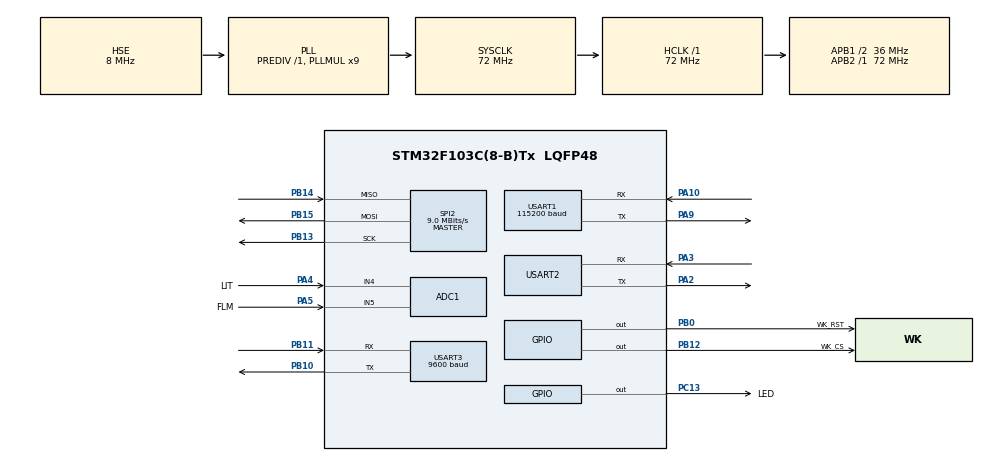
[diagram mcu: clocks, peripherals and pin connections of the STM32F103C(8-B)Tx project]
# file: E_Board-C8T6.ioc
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ADC1.Channel-0\#ChannelRegularConversion=ADC_CHANNEL_4
ADC1.Channel-1\#ChannelRegularConversion=ADC_CHANNEL_5
ADC1.NbrOfConversion=2
ADC1.NbrOfConversionFlag=1
ADC1.Rank-0\#ChannelRegularConversion=1
ADC1.Rank-1\#ChannelRegularConversion=2
ADC1.SamplingTime-0\#ChannelRegularConversion=ADC_SAMPLETIME_239CYCLES_5
ADC1.SamplingTime-1\#ChannelRegularConversion=ADC_SAMPLETIME_239CYCLES_5
ADC1.master=1
Dma.ADC1.1.Direction=DMA_PERIPH_TO_MEMORY
Dma.ADC1.1.Instance=DMA1_Channel1
Dma.ADC1.1.MemDataAlignment=DMA_MDATAALIGN_HALFWORD
Dma.ADC1.1.MemInc=DMA_MINC_ENABLE
Dma.ADC1.1.Mode=DMA_NORMAL
Dma.ADC1.1.PeriphDataAlignment=DMA_PDATAALIGN_HALFWORD
Dma.ADC1.1.PeriphInc=DMA_PINC_DISABLE
Dma.ADC1.1.Priority=DMA_PRIORITY_LOW
Dma.Request0=USART1_RX
Dma.Request1=ADC1
Dma.Request2=USART3_RX
Dma.USART1_RX.0.Direction=DMA_PERIPH_TO_MEMORY
Dma.USART1_RX.0.Instance=DMA1_Channel5
Dma.USART1_RX.0.MemDataAlignment=DMA_MDATAALIGN_BYTE
Dma.USART1_RX.0.MemInc=DMA_MINC_ENABLE
Dma.USART1_RX.0.Mode=DMA_NORMAL
Dma.USART1_RX.0.PeriphDataAlignment=DMA_PDATAALIGN_BYTE
Dma.USART1_RX.0.PeriphInc=DMA_PINC_DISABLE
Dma.USART1_RX.0.Priority=DMA_PRIORITY_LOW
Dma.USART3_RX.2.Direction=DMA_PERIPH_TO_MEMORY
Dma.USART3_RX.2.Instance=DMA1_Channel3
Dma.USART3_RX.2.MemDataAlignment=DMA_MDATAALIGN_BYTE
Dma.USART3_RX.2.MemInc=DMA_MINC_ENABLE
Dma.USART3_RX.2.Mode=DMA_NORMAL
Dma.USART3_RX.2.PeriphDataAlignment=DMA_PDATAALIGN_BYTE
Dma.USART3_RX.2.PeriphInc=DMA_PINC_DISABLE
Dma.USART3_RX.2.Priority=DMA_PRIORITY_LOW
Mcu.Family=STM32F1
Mcu.Name=STM32F103C(8-B)Tx
Mcu.Package=LQFP48
NVIC.DMA1_Channel1_IRQn=true\:0\:0\:false\:false\:true\:false\:true\:true
NVIC.DMA1_Channel3_IRQn=true\:0\:0\:false\:false\:true\:false\:true\:true
NVIC.DMA1_Channel5_IRQn=true\:0\:0\:false\:false\:true\:false\:true\:true
NVIC.PriorityGroup=NVIC_PRIORITYGROUP_4
NVIC.TIM3_IRQn=true\:1\:0\:true\:false\:true\:true\:true\:true
NVIC.USART1_IRQn=true\:0\:0\:false\:false\:true\:true\:true\:true
NVIC.USART3_IRQn=true\:0\:0\:false\:false\:true\:true\:true\:true
PA10.Mode=Asynchronous
PA10.Signal=USART1_RX
PA13.Mode=Serial_Wire
PA13.Signal=SYS_JTMS-SWDIO
PA14.Mode=Serial_Wire
PA14.Signal=SYS_JTCK-SWCLK
PA2.Mode=Asynchronous
PA2.Signal=USART2_TX
PA3.Mode=Asynchronous
PA3.Signal=USART2_RX
PA4.GPIO_Label=LIT
PA4.Signal=ADCx_IN4
PA5.GPIO_Label=FLM
PA5.Signal=ADCx_IN5
PA9.Mode=Asynchronous
PA9.Signal=USART1_TX
PB0.GPIO_Label=WK_RST
PB0.Signal=GPIO_Output
PB10.Mode=Asynchronous
PB10.Signal=USART3_TX
PB11.Mode=Asynchronous
PB11.Signal=USART3_RX
PB12.GPIO_Label=WK_CS
PB12.Signal=GPIO_Output
PB13.Mode=Full_Duplex_Master
PB13.Signal=SPI2_SCK
PB14.Mode=Full_Duplex_Master
PB14.Signal=SPI2_MISO
PB15.Mode=Full_Duplex_Master
PB15.Signal=SPI2_MOSI
PC13-TAMPER-RTC.GPIO_Label=LED
PC13-TAMPER-RTC.GPIO_ModeDefaultOutputPP=GPIO_MODE_OUTPUT_PP
PC13-TAMPER-RTC.Signal=GPIO_Output
PD0-OSC_IN.Mode=HSE-External-Oscillator
PD0-OSC_IN.Signal=RCC_OSC_IN
PD1-OSC_OUT.Mode=HSE-External-Oscillator
PD1-OSC_OUT.Signal=RCC_OSC_OUT
ProjectManager.HeapSize=0x200
ProjectManager.StackSize=0x400
ProjectManager.TargetToolchain=MDK-ARM V5.27
RCC.ADCPresc=RCC_ADCPCLK2_DIV6
RCC.AHBFreq_Value=72000000
RCC.APB1CLKDivider=RCC_HCLK_DIV2
RCC.APB1Freq_Value=36000000
RCC.APB1TimFreq_Value=72000000
RCC.APB2Freq_Value=72000000
RCC.APB2TimFreq_Value=72000000
RCC.HCLKFreq_Value=72000000
RCC.PLLMUL=RCC_PLL_MUL9
RCC.PLLSourceVirtual=RCC_PLLSOURCE_HSE
RCC.SYSCLKFreq_VALUE=72000000
RCC.SYSCLKSource=RCC_SYSCLKSOURCE_PLLCLK
RCC.USBFreq_Value=72000000
SH.ADCx_IN4.0=ADC1_IN4,IN4
SH.ADCx_IN5.0=ADC1_IN5,IN5
SPI2.BaudRatePrescaler=SPI_BAUDRATEPRESCALER_4
SPI2.CalculateBaudRate=9.0 MBits/s
SPI2.Direction=SPI_DIRECTION_2LINES
SPI2.Mode=SPI_MODE_MASTER
SPI2.VirtualType=VM_MASTER
TIM2.Period=10000-1
TIM2.Prescaler=72-1
TIM3.Period=2000-1
TIM3.Prescaler=7200-1
USART1.BaudRate=115200
USART1.Mode=MODE_TX_RX
USART1.OverSampling=UART_OVERSAMPLING_16
USART1.Parity=PARITY_NONE
USART1.StopBits=STOPBITS_1
USART1.VirtualMode=VM_ASYNC
USART1.WordLength=WORDLENGTH_8B
USART2.VirtualMode=VM_ASYNC
USART3.BaudRate=9600
USART3.VirtualMode=VM_ASYNC
VP_CRC_VS_CRC.Mode=CRC_Activate
VP_TIM2_VS_ClockSourceINT.Mode=Internal
VP_TIM3_VS_ClockSourceINT.Mode=Internal
board=custom

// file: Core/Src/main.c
/* USER CODE BEGIN Header */
/**
  ******************************************************************************
  * @file           : main.c
  * @brief          : Main program body
  ******************************************************************************
  * @attention
  *
  * Copyright (c) 2023 STMicroelectronics.
  * All rights reserved.
  *
  * This software is licensed under terms that can be found in the LICENSE file
  * in the root directory of this software component.
  * If no LICENSE file comes with this software, it is provided AS-IS.
  *
  ******************************************************************************
  */
/* USER CODE END Header */
#include "main.h"
#include "adc.h"
#include "crc.h"
#include "dma.h"
#include "spi.h"
#include "tim.h"
#include "usart.h"
#include "gpio.h"

/* USER CODE BEGIN PV */

#define uart1_rec_len  50
uint8_t uart1_rec_buf[uart1_rec_len];
#define uart3_rec_len  30
uint8_t uart3_rec_buf[uart3_rec_len];

uint8_t hw_port1_get_id = 0;
uint16_t hw_port1_get_data = 0;

uint8_t hw_port2_get_id = 0;
uint16_t hw_port2_get_data = 0;

uint8_t hw_port3_get_id = 0;
uint16_t hw_port3_get_data = 0;

uint8_t hw_port4_get_id = 0;
uint16_t hw_port4_get_data = 0;

uint8_t hw_port5_get_id = 0;
uint16_t hw_port5_get_data = 0;

float aht20_buf[2];

uint16_t adc_dma_buf[2];
uint16_t adc_pa4_buf[10];
uint16_t adc_pa5_buf[10];

uint16_t adc_pa4_sum;
uint16_t adc_pa5_sum;
uint8_t system_process = 0;

enum PROCESS
{
	SUM = 0,
	HW_PORT_1,
	HW_PORT_2,
	HW_PORT_3,
	HW_PORT_4,
	HW_PORT_5,
	HW_PORT_HUM_TEMP,
	HW_PORT_ADC
};
/* USER CODE END PV */

void SystemClock_Config(void);

int main(void)
{

  /* MCU Configuration--------------------------------------------------------*/

  /* Reset of all peripherals, Initializes the Flash interface and the Systick. */
  HAL_Init();

  /* Configure the system clock */
  SystemClock_Config();

  /* Initialize all configured peripherals */
  MX_GPIO_Init();
  MX_DMA_Init();
  MX_USART1_UART_Init();
  MX_USART2_UART_Init();
  MX_USART3_UART_Init();
  MX_TIM2_Init();
  MX_SPI2_Init();
  MX_ADC1_Init();
  MX_CRC_Init();
  MX_TIM3_Init();
  /* USER CODE BEGIN 2 */
	iic1_init();
  /* USER CODE END 2 */

  /* Infinite loop */
  /* USER CODE BEGIN WHILE */
  while (1)
  {
		AHT20_Read_Float_Hum_Temp(aht20_buf);
		printf("hum %d  temp %d \r\n\r\n", (int)aht20_buf[0], (int)aht20_buf[1]);
		HAL_Delay(200);
    /* USER CODE END WHILE */

  }
}

void SystemClock_Config(void)
{
  RCC_OscInitTypeDef RCC_OscInitStruct = {0};
  RCC_ClkInitTypeDef RCC_ClkInitStruct = {0};
  RCC_PeriphCLKInitTypeDef PeriphClkInit = {0};

  /** Initializes the RCC Oscillators according to the specified parameters
  * in the RCC_OscInitTypeDef structure.
  */
  RCC_OscInitStruct.OscillatorType = RCC_OSCILLATORTYPE_HSE;
  RCC_OscInitStruct.HSEState = RCC_HSE_ON;
  RCC_OscInitStruct.HSEPredivValue = RCC_HSE_PREDIV_DIV1;
  RCC_OscInitStruct.HSIState = RCC_HSI_ON;
  RCC_OscInitStruct.PLL.PLLState = RCC_PLL_ON;
  RCC_OscInitStruct.PLL.PLLSource = RCC_PLLSOURCE_HSE;
  RCC_OscInitStruct.PLL.PLLMUL = RCC_PLL_MUL9;
  if (HAL_RCC_OscConfig(&RCC_OscInitStruct) != HAL_OK)
  {
    Error_Handler();
  }

  /** Initializes the CPU, AHB and APB buses clocks
  */
  RCC_ClkInitStruct.ClockType = RCC_CLOCKTYPE_HCLK|RCC_CLOCKTYPE_SYSCLK
                              |RCC_CLOCKTYPE_PCLK1|RCC_CLOCKTYPE_PCLK2;
  RCC_ClkInitStruct.SYSCLKSource = RCC_SYSCLKSOURCE_PLLCLK;
  RCC_ClkInitStruct.AHBCLKDivider = RCC_SYSCLK_DIV1;
  RCC_ClkInitStruct.APB1CLKDivider = RCC_HCLK_DIV2;
  RCC_ClkInitStruct.APB2CLKDivider = RCC_HCLK_DIV1;

  if (HAL_RCC_ClockConfig(&RCC_ClkInitStruct, FLASH_LATENCY_2) != HAL_OK)
  {
    Error_Handler();
  }
  PeriphClkInit.PeriphClockSelection = RCC_PERIPHCLK_ADC;
  PeriphClkInit.AdcClockSelection = RCC_ADCPCLK2_DIV6;
  if (HAL_RCCEx_PeriphCLKConfig(&PeriphClkInit) != HAL_OK)
  {
    Error_Handler();
  }
}

/* USER CODE BEGIN 4 */

void HAL_TIM_PeriodElapsedCallback(TIM_HandleTypeDef *htim)
{
	if(htim == &htim3)	/* 200ms */
	{

	}
}
/*  */
void HAL_UARTEx_RxEventCallback(UART_HandleTypeDef *huart, uint16_t Size)
{
	if(huart == &huart1)
	{
		MY_UART1_Idle_Callback(Size);
		HAL_UARTEx_ReceiveToIdle_DMA(&huart1, uart1_rec_buf, uart1_rec_len);
		__HAL_DMA_DISABLE_IT(&hdma_usart1_rx ,DMA_IT_HT);
	}

	if(huart == &huart3)
	{
		MY_UART3_Idle_Callback(Size);
		HAL_UARTEx_ReceiveToIdle_IT(&huart3, uart3_rec_buf, uart3_rec_len);
	}
}
/*  */
void HAL_ADC_ConvCpltCallback(ADC_HandleTypeDef* hadc)
{
	if(hadc == &hadc1)
	{

	}
}
/* USER CODE END 4 */

void Error_Handler(void)
{
  __disable_irq();
  while (1)
  {
  }
}
